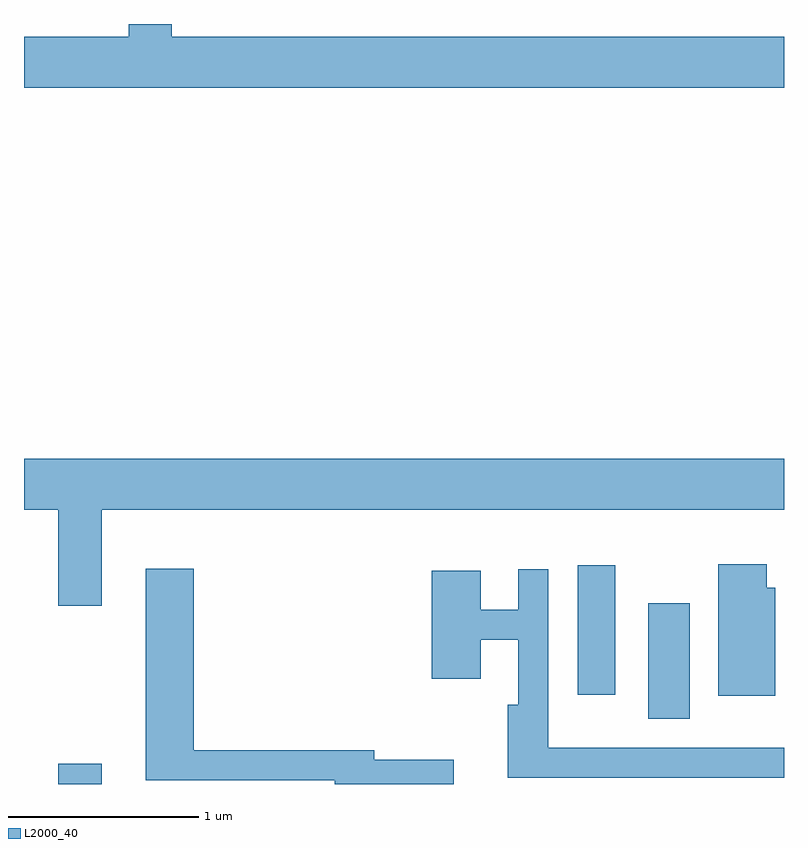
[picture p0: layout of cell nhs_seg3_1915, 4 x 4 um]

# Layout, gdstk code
import gdstk
lib = gdstk.Library(unit=1e-6, precision=1e-09)
def R(c, l, rs):  # rectangles x0, y0, x1, y1
    for r in rs: c.add(gdstk.rectangle(r[:2], r[2:], *l))
def P(c, l, *ps):  # polygons
    for p in ps: c.add(gdstk.Polygon(p, *l))
L2000_40 = (2000, 40)

nhs_seg3_1915 = lib.new_cell('nhs_seg3_1915')
R(nhs_seg3_1915, L2000_40, [(241.791,1137.892,242.019,1137.999), (244.896,1138.236,245.114,1138.844), (244.526,1138.361,244.724,1139.044)])
P(nhs_seg3_1915, L2000_40, [(245.611,1141.824),(242.389,1141.824),(242.389,1141.892),(242.161,1141.892),(242.161,1141.824),(241.611,1141.824),(241.611,1141.556),(245.611,1141.556)],
  [(242.019,1139.336),(245.611,1139.336),(245.611,1139.604),(241.611,1139.604),(241.611,1139.336),(241.791,1139.336),(241.791,1138.831),(242.019,1138.831)],
  [(245.564,1138.924),(245.519,1138.924),(245.519,1139.049),(245.266,1139.049),(245.266,1138.356),(245.564,1138.356)],
  [(243.874,1138.019),(243.454,1138.019),(243.454,1138.069),(242.504,1138.069),(242.504,1139.024),(242.251,1139.024),(242.251,1137.911),(243.246,1137.911),(243.246,1137.892),(243.874,1137.892)],
  [(245.611,1138.084),(244.369,1138.084),(244.369,1139.023),(244.211,1139.023),(244.211,1138.809),(244.014,1138.809),(244.014,1139.014),(243.756,1139.014),(243.756,1138.446),(244.014,1138.446),(244.014,1138.651),(244.211,1138.651),(244.211,1138.309),(244.156,1138.309),(244.156,1137.926),(245.611,1137.926)])

lib.write_gds('nhs_seg3_1915.gds')
